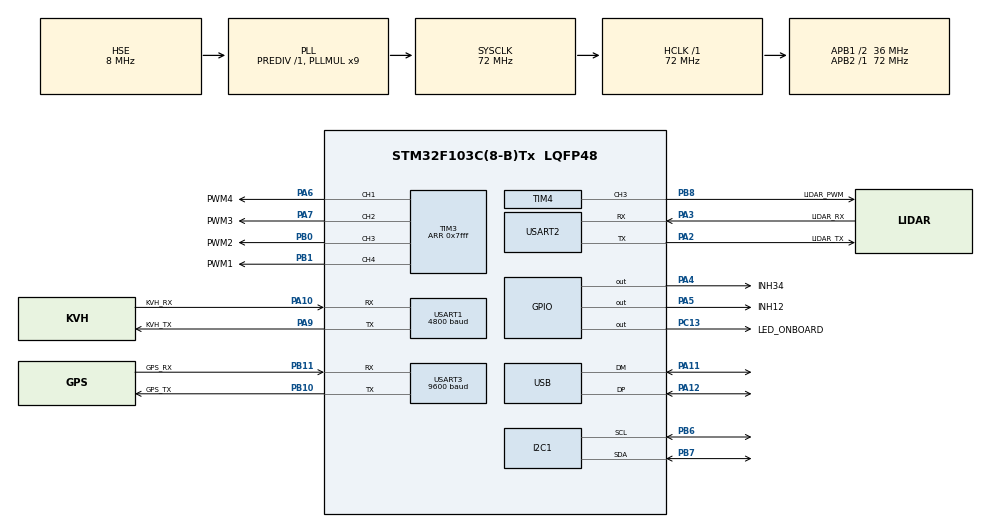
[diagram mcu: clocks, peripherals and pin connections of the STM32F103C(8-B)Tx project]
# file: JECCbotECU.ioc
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Mcu.Family=STM32F1
Mcu.Name=STM32F103C(8-B)Tx
Mcu.Package=LQFP48
NVIC.PriorityGroup=NVIC_PRIORITYGROUP_4
NVIC.USART1_IRQn=true\:1\:0\:true\:false\:true\:true\:true
NVIC.USART2_IRQn=true\:2\:0\:true\:false\:true\:true\:true
NVIC.USART3_IRQn=true\:0\:0\:true\:false\:true\:true\:true
NVIC.USB_LP_CAN1_RX0_IRQn=true\:0\:0\:false\:false\:true\:false\:true
PA10.GPIO_Label=KVH_RX
PA10.Mode=Asynchronous
PA10.Signal=USART1_RX
PA11.Mode=Device
PA11.Signal=USB_DM
PA12.Mode=Device
PA12.Signal=USB_DP
PA13.Mode=Serial_Wire
PA13.Signal=SYS_JTMS-SWDIO
PA14.Mode=Serial_Wire
PA14.Signal=SYS_JTCK-SWCLK
PA2.GPIO_Label=LIDAR_TX
PA2.Mode=Asynchronous
PA2.Signal=USART2_TX
PA3.GPIO_Label=LIDAR_RX
PA3.Mode=Asynchronous
PA3.Signal=USART2_RX
PA4.GPIO_Label=INH34
PA4.Signal=GPIO_Output
PA5.GPIO_Label=INH12
PA5.Signal=GPIO_Output
PA6.GPIO_Label=PWM4
PA6.Signal=S_TIM3_CH1
PA7.GPIO_Label=PWM3
PA7.Signal=S_TIM3_CH2
PA9.GPIO_Label=KVH_TX
PA9.Mode=Asynchronous
PA9.Signal=USART1_TX
PB0.GPIO_Label=PWM2
PB0.Signal=S_TIM3_CH3
PB1.GPIO_Label=PWM1
PB1.Signal=S_TIM3_CH4
PB10.GPIO_Label=GPS_TX
PB10.Mode=Asynchronous
PB10.Signal=USART3_TX
PB11.GPIO_Label=GPS_RX
PB11.Mode=Asynchronous
PB11.Signal=USART3_RX
PB6.Mode=I2C
PB6.Signal=I2C1_SCL
PB7.Mode=I2C
PB7.Signal=I2C1_SDA
PB8.GPIO_Label=LIDAR_PWM
PB8.Signal=S_TIM4_CH3
PC13-TAMPER-RTC.GPIO_Label=LED_ONBOARD
PC13-TAMPER-RTC.PinState=GPIO_PIN_SET
PC13-TAMPER-RTC.Signal=GPIO_Output
PD0-OSC_IN.Mode=HSE-External-Oscillator
PD0-OSC_IN.Signal=RCC_OSC_IN
PD1-OSC_OUT.Mode=HSE-External-Oscillator
PD1-OSC_OUT.Signal=RCC_OSC_OUT
ProjectManager.HeapSize=0x600
ProjectManager.StackSize=0x400
ProjectManager.TargetToolchain=STM32CubeIDE
RCC.AHBFreq_Value=72000000
RCC.APB1CLKDivider=RCC_HCLK_DIV2
RCC.APB1Freq_Value=36000000
RCC.APB1TimFreq_Value=72000000
RCC.APB2Freq_Value=72000000
RCC.APB2TimFreq_Value=72000000
RCC.HCLKFreq_Value=72000000
RCC.PLLMUL=RCC_PLL_MUL9
RCC.SYSCLKFreq_VALUE=72000000
RCC.SYSCLKSource=RCC_SYSCLKSOURCE_PLLCLK
RCC.USBFreq_Value=48000000
RCC.USBPrescaler=RCC_USBCLKSOURCE_PLL_DIV1_5
SH.S_TIM3_CH1.0=TIM3_CH1,PWM Generation1 CH1
SH.S_TIM3_CH2.0=TIM3_CH2,PWM Generation2 CH2
SH.S_TIM3_CH3.0=TIM3_CH3,PWM Generation3 CH3
SH.S_TIM3_CH4.0=TIM3_CH4,PWM Generation4 CH4
SH.S_TIM4_CH3.0=TIM4_CH3,PWM Generation3 CH3
TIM3.Channel-PWM\ Generation1\ CH1=TIM_CHANNEL_1
TIM3.Channel-PWM\ Generation2\ CH2=TIM_CHANNEL_2
TIM3.Channel-PWM\ Generation3\ CH3=TIM_CHANNEL_3
TIM3.Channel-PWM\ Generation4\ CH4=TIM_CHANNEL_4
TIM3.Period=0x7fff
TIM4.Channel-PWM\ Generation3\ CH3=TIM_CHANNEL_3
TIM4.Period=3000
TIM4.Pulse-PWM\ Generation3\ CH3=1800
USART1.BaudRate=4800
USART1.VirtualMode=VM_ASYNC
USART2.Parity=PARITY_NONE
USART2.VirtualMode=VM_ASYNC
USART2.WordLength=WORDLENGTH_8B
USART3.BaudRate=9600
USART3.VirtualMode=VM_ASYNC
USB_DEVICE.CLASS_NAME_FS=CDC
USB_DEVICE.VirtualMode=Cdc
USB_DEVICE.VirtualModeFS=Cdc_FS
VP_USB_DEVICE_VS_USB_DEVICE_CDC_FS.Mode=CDC_FS
board=custom

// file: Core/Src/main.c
/* USER CODE BEGIN Header */
/**
  ******************************************************************************
  * @file           : main.c
  * @brief          : Main program body
  ******************************************************************************
  * @attention
  *
  * <h2><center>&copy; Copyright (c) 2020 STMicroelectronics.
  * All rights reserved.</center></h2>
  *
  * This software component is licensed by ST under BSD 3-Clause license,
  * the "License"; You may not use this file except in compliance with the
  * License. You may obtain a copy of the License at:
  *                        opensource.org/licenses/BSD-3-Clause
  *
  ******************************************************************************
  */
/* USER CODE END Header */

#include "main.h"
#include "usb_device.h"

/* USER CODE BEGIN PD */
#define LIDAR_STATE_INIT 0
#define LIDAR_STATE_SCAN 1
/* USER CODE END PD */

I2C_HandleTypeDef hi2c1;

TIM_HandleTypeDef htim3;
TIM_HandleTypeDef htim4;

UART_HandleTypeDef huart1;
UART_HandleTypeDef huart2;
UART_HandleTypeDef huart3;

/* USER CODE BEGIN PV */
NmeaString kvhString;
NmeaString gpsString;

/* USER CODE END PV */

void SystemClock_Config(void);
static void MX_GPIO_Init(void);
static void MX_USART2_UART_Init(void);
static void MX_I2C1_Init(void);
static void MX_TIM3_Init(void);
static void MX_TIM4_Init(void);
static void MX_USART1_UART_Init(void);
static void MX_USART3_UART_Init(void);
/* USER CODE BEGIN PFP */
void powertrainInit();

void powertrainEnableMotors(int enableState);

void powertrainSetSpeeds(int16_t left, int16_t right);

void kvhInit();
void kvhFetch();
void kvhDecode();

void gpsInit();
void gpsFetch();
void gpsDecode();

void insertSensordataToApi();
/* USER CODE END PFP */

/* USER CODE BEGIN 0 */
void HAL_UART_RxCpltCallback(UART_HandleTypeDef *huart)
{
	if(huart->Instance == huart1.Instance)
	{
		kvhFetch();
	}
	else if(huart->Instance == huart2.Instance)
	{
		//lidarDecode();
	}
	else if(huart->Instance == huart3.Instance)
	{
		gpsFetch();
	}
}
/* USER CODE END 0 */

int main(void)
{

  /* MCU Configuration--------------------------------------------------------*/

  /* Reset of all peripherals, Initializes the Flash interface and the Systick. */
  HAL_Init();

  /* Configure the system clock */
  SystemClock_Config();

  /* Initialize all configured peripherals */
  MX_GPIO_Init();
  MX_USB_DEVICE_Init();
  MX_USART2_UART_Init();
  MX_I2C1_Init();
  MX_TIM3_Init();
  MX_TIM4_Init();
  MX_USART1_UART_Init();
  MX_USART3_UART_Init();
  /* USER CODE BEGIN 2 */
  apiInit();

  powertrainInit();

  kvhInit();

  gpsInit();

  /* USER CODE END 2 */

  /* Infinite loop */
  /* USER CODE BEGIN WHILE */
  while (1)
  {
	  ApiInstruction ins = apiUpdate();

	  insertSensordataToApi();

	  if(ins.responseLen > 0)
	  {
		  CDC_Transmit_FS(ins.response, ins.responseLen);
	  }

	  if(API_STATE_JOYDRIVE == apiMemory[API_REG_STATE])
	  {
		  powertrainSetSpeeds(apiMemory[API_REG_PWMLEFT], apiMemory[API_REG_PWMRIGHT]);
	  }
	  else if(API_STATE_MOVEHEADING == apiMemory[API_REG_STATE])
	  {
		  moveHeading();
		  powertrainSetSpeeds(apiMemory[API_REG_PWMLEFT], apiMemory[API_REG_PWMRIGHT]);
	  }
//	  else if(API_STATE_MOVEGPS == apiMemory[API_REG_STATE])
//	  {
//		  moveGPS();
//		  powertrainSetSpeeds(apiMemory[API_REG_PWMLEFT], apiMemory[API_REG_PWMRIGHT]);
//	  }

    /* USER CODE END WHILE */

  }
}

void SystemClock_Config(void)
{
  RCC_OscInitTypeDef RCC_OscInitStruct = {0};
  RCC_ClkInitTypeDef RCC_ClkInitStruct = {0};
  RCC_PeriphCLKInitTypeDef PeriphClkInit = {0};

  /** Initializes the CPU, AHB and APB busses clocks
  */
  RCC_OscInitStruct.OscillatorType = RCC_OSCILLATORTYPE_HSE;
  RCC_OscInitStruct.HSEState = RCC_HSE_ON;
  RCC_OscInitStruct.HSEPredivValue = RCC_HSE_PREDIV_DIV1;
  RCC_OscInitStruct.HSIState = RCC_HSI_ON;
  RCC_OscInitStruct.PLL.PLLState = RCC_PLL_ON;
  RCC_OscInitStruct.PLL.PLLSource = RCC_PLLSOURCE_HSE;
  RCC_OscInitStruct.PLL.PLLMUL = RCC_PLL_MUL9;
  if (HAL_RCC_OscConfig(&RCC_OscInitStruct) != HAL_OK)
  {
    Error_Handler();
  }
  /** Initializes the CPU, AHB and APB busses clocks
  */
  RCC_ClkInitStruct.ClockType = RCC_CLOCKTYPE_HCLK|RCC_CLOCKTYPE_SYSCLK
                              |RCC_CLOCKTYPE_PCLK1|RCC_CLOCKTYPE_PCLK2;
  RCC_ClkInitStruct.SYSCLKSource = RCC_SYSCLKSOURCE_PLLCLK;
  RCC_ClkInitStruct.AHBCLKDivider = RCC_SYSCLK_DIV1;
  RCC_ClkInitStruct.APB1CLKDivider = RCC_HCLK_DIV2;
  RCC_ClkInitStruct.APB2CLKDivider = RCC_HCLK_DIV1;

  if (HAL_RCC_ClockConfig(&RCC_ClkInitStruct, FLASH_LATENCY_2) != HAL_OK)
  {
    Error_Handler();
  }
  PeriphClkInit.PeriphClockSelection = RCC_PERIPHCLK_USB;
  PeriphClkInit.UsbClockSelection = RCC_USBCLKSOURCE_PLL_DIV1_5;
  if (HAL_RCCEx_PeriphCLKConfig(&PeriphClkInit) != HAL_OK)
  {
    Error_Handler();
  }
}

static void MX_I2C1_Init(void)
{

  hi2c1.Instance = I2C1;
  hi2c1.Init.ClockSpeed = 100000;
  hi2c1.Init.DutyCycle = I2C_DUTYCYCLE_2;
  hi2c1.Init.OwnAddress1 = 0;
  hi2c1.Init.AddressingMode = I2C_ADDRESSINGMODE_7BIT;
  hi2c1.Init.DualAddressMode = I2C_DUALADDRESS_DISABLE;
  hi2c1.Init.OwnAddress2 = 0;
  hi2c1.Init.GeneralCallMode = I2C_GENERALCALL_DISABLE;
  hi2c1.Init.NoStretchMode = I2C_NOSTRETCH_DISABLE;
  if (HAL_I2C_Init(&hi2c1) != HAL_OK)
  {
    Error_Handler();
  }

}

static void MX_TIM3_Init(void)
{

  TIM_MasterConfigTypeDef sMasterConfig = {0};
  TIM_OC_InitTypeDef sConfigOC = {0};

  htim3.Instance = TIM3;
  htim3.Init.Prescaler = 0;
  htim3.Init.CounterMode = TIM_COUNTERMODE_UP;
  htim3.Init.Period = 0x7fff;
  htim3.Init.ClockDivision = TIM_CLOCKDIVISION_DIV1;
  htim3.Init.AutoReloadPreload = TIM_AUTORELOAD_PRELOAD_DISABLE;
  if (HAL_TIM_PWM_Init(&htim3) != HAL_OK)
  {
    Error_Handler();
  }
  sMasterConfig.MasterOutputTrigger = TIM_TRGO_RESET;
  sMasterConfig.MasterSlaveMode = TIM_MASTERSLAVEMODE_DISABLE;
  if (HAL_TIMEx_MasterConfigSynchronization(&htim3, &sMasterConfig) != HAL_OK)
  {
    Error_Handler();
  }
  sConfigOC.OCMode = TIM_OCMODE_PWM1;
  sConfigOC.Pulse = 0;
  sConfigOC.OCPolarity = TIM_OCPOLARITY_HIGH;
  sConfigOC.OCFastMode = TIM_OCFAST_DISABLE;
  if (HAL_TIM_PWM_ConfigChannel(&htim3, &sConfigOC, TIM_CHANNEL_1) != HAL_OK)
  {
    Error_Handler();
  }
  if (HAL_TIM_PWM_ConfigChannel(&htim3, &sConfigOC, TIM_CHANNEL_2) != HAL_OK)
  {
    Error_Handler();
  }
  if (HAL_TIM_PWM_ConfigChannel(&htim3, &sConfigOC, TIM_CHANNEL_3) != HAL_OK)
  {
    Error_Handler();
  }
  if (HAL_TIM_PWM_ConfigChannel(&htim3, &sConfigOC, TIM_CHANNEL_4) != HAL_OK)
  {
    Error_Handler();
  }
  HAL_TIM_MspPostInit(&htim3);

}

static void MX_TIM4_Init(void)
{

  TIM_MasterConfigTypeDef sMasterConfig = {0};
  TIM_OC_InitTypeDef sConfigOC = {0};

  htim4.Instance = TIM4;
  htim4.Init.Prescaler = 0;
  htim4.Init.CounterMode = TIM_COUNTERMODE_UP;
  htim4.Init.Period = 3000;
  htim4.Init.ClockDivision = TIM_CLOCKDIVISION_DIV1;
  htim4.Init.AutoReloadPreload = TIM_AUTORELOAD_PRELOAD_DISABLE;
  if (HAL_TIM_PWM_Init(&htim4) != HAL_OK)
  {
    Error_Handler();
  }
  sMasterConfig.MasterOutputTrigger = TIM_TRGO_RESET;
  sMasterConfig.MasterSlaveMode = TIM_MASTERSLAVEMODE_DISABLE;
  if (HAL_TIMEx_MasterConfigSynchronization(&htim4, &sMasterConfig) != HAL_OK)
  {
    Error_Handler();
  }
  sConfigOC.OCMode = TIM_OCMODE_PWM1;
  sConfigOC.Pulse = 1800;
  sConfigOC.OCPolarity = TIM_OCPOLARITY_HIGH;
  sConfigOC.OCFastMode = TIM_OCFAST_DISABLE;
  if (HAL_TIM_PWM_ConfigChannel(&htim4, &sConfigOC, TIM_CHANNEL_3) != HAL_OK)
  {
    Error_Handler();
  }
  HAL_TIM_MspPostInit(&htim4);

}

static void MX_USART1_UART_Init(void)
{

  huart1.Instance = USART1;
  huart1.Init.BaudRate = 4800;
  huart1.Init.WordLength = UART_WORDLENGTH_8B;
  huart1.Init.StopBits = UART_STOPBITS_1;
  huart1.Init.Parity = UART_PARITY_NONE;
  huart1.Init.Mode = UART_MODE_TX_RX;
  huart1.Init.HwFlowCtl = UART_HWCONTROL_NONE;
  huart1.Init.OverSampling = UART_OVERSAMPLING_16;
  if (HAL_UART_Init(&huart1) != HAL_OK)
  {
    Error_Handler();
  }

}

static void MX_USART2_UART_Init(void)
{

  huart2.Instance = USART2;
  huart2.Init.BaudRate = 115200;
  huart2.Init.WordLength = UART_WORDLENGTH_8B;
  huart2.Init.StopBits = UART_STOPBITS_1;
  huart2.Init.Parity = UART_PARITY_NONE;
  huart2.Init.Mode = UART_MODE_TX_RX;
  huart2.Init.HwFlowCtl = UART_HWCONTROL_NONE;
  huart2.Init.OverSampling = UART_OVERSAMPLING_16;
  if (HAL_UART_Init(&huart2) != HAL_OK)
  {
    Error_Handler();
  }

}

static void MX_USART3_UART_Init(void)
{

  huart3.Instance = USART3;
  huart3.Init.BaudRate = 38400;
  huart3.Init.WordLength = UART_WORDLENGTH_8B;
  huart3.Init.StopBits = UART_STOPBITS_1;
  huart3.Init.Parity = UART_PARITY_NONE;
  huart3.Init.Mode = UART_MODE_TX_RX;
  huart3.Init.HwFlowCtl = UART_HWCONTROL_NONE;
  huart3.Init.OverSampling = UART_OVERSAMPLING_16;
  if (HAL_UART_Init(&huart3) != HAL_OK)
  {
    Error_Handler();
  }

}

static void MX_GPIO_Init(void)
{
  GPIO_InitTypeDef GPIO_InitStruct = {0};

  /* GPIO Ports Clock Enable */
  __HAL_RCC_GPIOD_CLK_ENABLE();
  __HAL_RCC_GPIOA_CLK_ENABLE();
  __HAL_RCC_GPIOB_CLK_ENABLE();

  /*Configure GPIO pin Output Level */
  HAL_GPIO_WritePin(GPIOA, INH34_Pin|INH12_Pin, GPIO_PIN_RESET);

  /*Configure GPIO pins : INH34_Pin INH12_Pin */
  GPIO_InitStruct.Pin = INH34_Pin|INH12_Pin;
  GPIO_InitStruct.Mode = GPIO_MODE_OUTPUT_PP;
  GPIO_InitStruct.Pull = GPIO_NOPULL;
  GPIO_InitStruct.Speed = GPIO_SPEED_FREQ_LOW;
  HAL_GPIO_Init(GPIOA, &GPIO_InitStruct);

}

/* USER CODE BEGIN 4 */
void powertrainInit()
{
	HAL_TIM_PWM_Start(&htim3, TIM_CHANNEL_1);
    HAL_TIM_PWM_Start(&htim3, TIM_CHANNEL_2);
	HAL_TIM_PWM_Start(&htim3, TIM_CHANNEL_3);
	HAL_TIM_PWM_Start(&htim3, TIM_CHANNEL_4);

	powertrainEnableMotors(1);

	powertrainSetSpeeds(0, 0);
}

void powertrainEnableMotors(int enableState)
{
	HAL_GPIO_WritePin(INH12_GPIO_Port, INH12_Pin, enableState);
	HAL_GPIO_WritePin(INH34_GPIO_Port, INH34_Pin, enableState);
}

void powertrainSetSpeeds(int16_t left, int16_t right)
{
	if(left < 0)
	{
		left = -left;
		htim3.Instance->CCR3 = 0;
		htim3.Instance->CCR4 = left;
	}
	else
	{
		htim3.Instance->CCR3 = left;
		htim3.Instance->CCR4 = 0;
	}

	if(right < 0)
	{
		right = -right;
		htim3.Instance->CCR1 = 0;
		htim3.Instance->CCR2 = right;
	}
	else
	{
		htim3.Instance->CCR1 = right;
		htim3.Instance->CCR2 = 0;
	}
}

void kvhInit()
{
	  char kvhInitStr[3] = { 's', '\r' };
	  char kvhConfigNmeaStr[5] = { '=', 't' , ',', '0', '\r' };
	  char kvhConfigSpeedStr[7] = { '=', 'r', ',' , '6', '0', '0', '\r' };
	  char kvhConfigUnitStr[5] = { '=', 'i' , ',', 'd', '\r' };
	  HAL_UART_Transmit(&huart1, kvhInitStr, 2, 1000);
	  HAL_Delay(100);
	  HAL_UART_Transmit(&huart1, kvhConfigNmeaStr, 5, 1000);
	  HAL_Delay(100);
	  HAL_UART_Transmit(&huart1, kvhConfigUnitStr, 5, 1000);
	  HAL_Delay(100);
	  HAL_UART_Transmit(&huart1, kvhConfigSpeedStr, 7, 1000);

	  kvhString.available = false;

	  HAL_UART_Receive_IT(&huart1, kvhString.nmeaStr, 1);
}

void kvhFetch()
{
	static bool startFound = false;

	if('$' == kvhString.nmeaStr[0])
	{
		if(startFound)
		{
			startFound = false;
			kvhString.available = true;
		}
		else
		{
			startFound = true;
			HAL_UART_Receive_IT(&huart1, &kvhString.nmeaStr[1], NMEA_STR_LEN - 2);
		}
	}
	else
	{
		startFound = false;
		HAL_UART_Receive_IT(&huart1, kvhString.nmeaStr, 1);
	}
}

void kvhDecode()
{
	if(kvhString.available)
	{
		kvhString.available = false;
		kvhString.nmeaStr[NMEA_HCHDT_LEN] = '\0';
		nmeaDecodeToApi(&kvhString);
		HAL_UART_Receive_IT(&huart1, kvhString.nmeaStr, 1);
	}
}

void gpsInit()
{
		gpsString.available = false;
		HAL_UART_Receive_IT(&huart3, gpsString.nmeaStr, 1);
}

void gpsFetch()
{
	static bool startFound = false;

	if('$' == gpsString.nmeaStr[0])
	{
		if(startFound)
		{
			startFound = false;
			gpsString.available = true;
		}
		else
		{
			startFound = true;
			HAL_UART_Receive_IT(&huart3, &gpsString.nmeaStr[1], NMEA_STR_LEN - 2);
		}
	}
	else
	{
		startFound = false;
		HAL_UART_Receive_IT(&huart3, gpsString.nmeaStr, 1);
	}
}

void gpsDecode()
{
	if(gpsString.available)
	{
		gpsString.available = false;
		gpsString.nmeaStr[NMEA_GPRMC_LEN] = '\0';
		nmeaDecodeToApi(&gpsString);
		HAL_UART_Receive_IT(&huart3, gpsString.nmeaStr, 1);
	}
}

void insertSensordataToApi()
{
	kvhDecode();
	gpsDecode();
}

/* USER CODE END 4 */

void Error_Handler(void)
{
}

/************************ (C) COPYRIGHT STMicroelectronics *****END OF FILE****/
